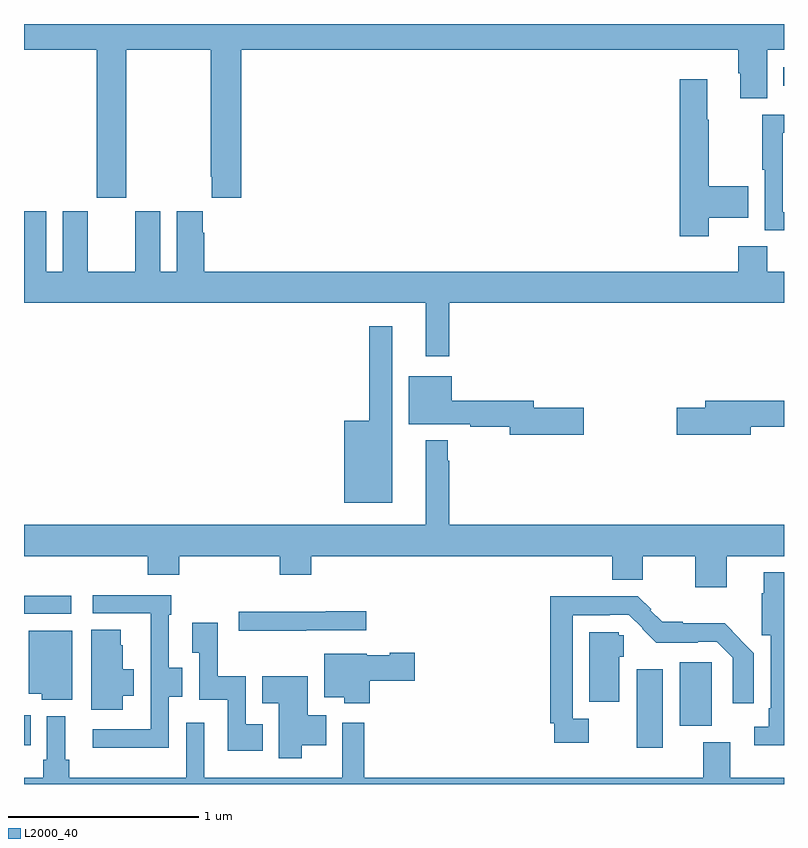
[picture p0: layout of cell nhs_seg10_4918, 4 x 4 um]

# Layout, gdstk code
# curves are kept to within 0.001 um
import gdstk
lib = gdstk.Library(unit=1e-6, precision=1e-09)
def R(c, l, rs):  # rectangles x0, y0, x1, y1
    for r in rs: c.add(gdstk.rectangle(r[:2], r[2:], *l))
def P(c, l, *ps):  # polygons
    for p in ps: c.add(gdstk.Polygon(p, *l))
L2000_40 = (2000, 40)

nhs_seg10_4918 = lib.new_cell('nhs_seg10_4918')
R(nhs_seg10_4918, L2000_40, [(398.225,1248.69,398.362,1249.105), (395,1248.704,395.036,1248.862), (398.45,1248.806,398.62,1249.14), (395,1249.395,395.248,1249.491), (398.996,1252.176,399,1252.272)])
P(nhs_seg10_4918, L2000_40, [(395.538,1252.364),(395.983,1252.364),(395.983,1251.697),(395.987,1251.697),(395.987,1251.585),(396.143,1251.585),(396.143,1252.364),(398.759,1252.364),(398.759,1252.242),(398.771,1252.242),(398.771,1252.108),(398.911,1252.108),(398.911,1252.364),(399,1252.364),(399,1252.5),(395,1252.5),(395,1252.364),(395.383,1252.364),(395.383,1251.585),(395.538,1251.585)],
  [(398.604,1251.479),(398.813,1251.479),(398.813,1251.645),(398.604,1251.645),(398.604,1251.997),(398.596,1251.997),(398.596,1252.21),(398.45,1252.21),(398.45,1251.384),(398.604,1251.384)],
  [(399,1251.51),(398.994,1251.51),(398.994,1251.927),(399,1251.927),(399,1252.023),(398.886,1252.023),(398.886,1251.733),(398.898,1251.733),(398.898,1251.414),(399,1251.414)],
  [(397.237,1251.032),(399,1251.032),(399,1251.196),(398.911,1251.196),(398.911,1251.329),(398.759,1251.329),(398.759,1251.196),(395.948,1251.196),(395.948,1251.401),(395.941,1251.401),(395.941,1251.514),(395.804,1251.514),(395.804,1251.196),(395.716,1251.196),(395.716,1251.514),(395.585,1251.514),(395.585,1251.196),(395.335,1251.196),(395.335,1251.514),(395.204,1251.514),(395.204,1251.196),(395.116,1251.196),(395.116,1251.514),(395,1251.514),(395,1251.032),(397.115,1251.032),(397.115,1250.751),(397.237,1250.751)],
  [(396.937,1250.908),(396.816,1250.908),(396.816,1250.413),(396.686,1250.413),(396.686,1249.979),(396.937,1249.979)],
  [(397.945,1250.48),(397.684,1250.48),(397.684,1250.516),(397.252,1250.516),(397.252,1250.647),(397.025,1250.647),(397.025,1250.393),(397.348,1250.393),(397.348,1250.38),(397.556,1250.38),(397.556,1250.338),(397.945,1250.338)],
  [(398.824,1250.38),(399,1250.38),(399,1250.516),(398.585,1250.516),(398.585,1250.48),(398.436,1250.48),(398.436,1250.338),(398.824,1250.338)],
  [(398.698,1249.7),(399,1249.7),(399,1249.864),(397.237,1249.864),(397.237,1250.201),(397.23,1250.201),(397.23,1250.308),(397.115,1250.308),(397.115,1249.864),(395,1249.864),(395,1249.7),(395.651,1249.7),(395.651,1249.601),(395.816,1249.601),(395.816,1249.7),(396.347,1249.7),(396.347,1249.601),(396.512,1249.601),(396.512,1249.7),(398.096,1249.7),(398.096,1249.574),(398.257,1249.574),(398.257,1249.7),(398.534,1249.7),(398.534,1249.536),(398.698,1249.536)],
  [(399,1249.615),(398.894,1249.615),(398.894,1249.505),(398.882,1249.505),(398.882,1249.284),(398.931,1249.284),(398.931,1248.898),(398.919,1248.898),(398.919,1248.801),(398.844,1248.801),(398.844,1248.704),(399,1248.704)],
  [(395.763,1248.958),(395.833,1248.958),(395.833,1249.113),(395.763,1249.113),(395.763,1249.391),(395.776,1249.391),(395.776,1249.494),(395.361,1249.494),(395.361,1249.398),(395.666,1249.398),(395.666,1249.201),(395.667,1249.201),(395.667,1248.789),(395.361,1248.789),(395.361,1248.692),(395.763,1248.692)],
  [(397.972,1248.844),(397.887,1248.844),(397.887,1249.388),(398.084,1249.388),(398.084,1249.392),(398.184,1249.392),(398.256,1249.32),(398.253,1249.317),(398.327,1249.244),(398.546,1249.244),(398.546,1249.248),(398.646,1249.248),(398.73,1249.164),(398.73,1248.924),(398.842,1248.924),(398.842,1249.188),(398.687,1249.345),(398.467,1249.345),(398.467,1249.353),(398.359,1249.353),(398.297,1249.415),(398.301,1249.419),(398.231,1249.489),(397.771,1249.489),(397.771,1248.82),(397.791,1248.82),(397.791,1248.716),(397.972,1248.716)],
  [(396.485,1249.308),(396.802,1249.308),(396.802,1249.409),(396.589,1249.409),(396.589,1249.406),(396.129,1249.406),(396.129,1249.306),(396.485,1249.306)],
  [(396.256,1248.814),(396.168,1248.814),(396.168,1249.066),(396.021,1249.066),(396.021,1249.348),(395.885,1249.348),(395.885,1249.192),(395.922,1249.192),(395.922,1248.944),(396.072,1248.944),(396.072,1248.674),(396.256,1248.674)],
  [(395.521,1248.965),(395.578,1248.965),(395.578,1249.105),(395.521,1249.105),(395.521,1249.23),(395.509,1249.23),(395.509,1249.313),(395.354,1249.313),(395.354,1248.89),(395.521,1248.89)],
  [(395.254,1249.306),(395.024,1249.306),(395.024,1248.974),(395.093,1248.974),(395.093,1248.944),(395.254,1248.944)],
  [(398.134,1249.17),(398.157,1249.17),(398.157,1249.284),(398.13,1249.284),(398.13,1249.299),(397.976,1249.299),(397.976,1248.932),(398.134,1248.932)],
  [(396.821,1249.043),(397.057,1249.043),(397.057,1249.19),(396.924,1249.19),(396.924,1249.177),(396.804,1249.177),(396.804,1249.186),(396.581,1249.186),(396.581,1248.956),(396.686,1248.956),(396.686,1248.926),(396.821,1248.926)],
  [(396.463,1248.704),(396.59,1248.704),(396.59,1248.862),(396.493,1248.862),(396.493,1249.066),(396.253,1249.066),(396.253,1248.926),(396.341,1248.926),(396.341,1248.636),(396.463,1248.636)],
  [(399,1248.532),(398.716,1248.532),(398.716,1248.721),(398.576,1248.721),(398.576,1248.532),(396.791,1248.532),(396.791,1248.823),(396.675,1248.823),(396.675,1248.532),(395.949,1248.532),(395.949,1248.823),(395.853,1248.823),(395.853,1248.532),(395.237,1248.532),(395.237,1248.628),(395.218,1248.628),(395.218,1248.856),(395.121,1248.856),(395.121,1248.628),(395.101,1248.628),(395.101,1248.532),(395,1248.532),(395,1248.5),(399,1248.5)])

lib.write_gds('nhs_seg10_4918.gds')
